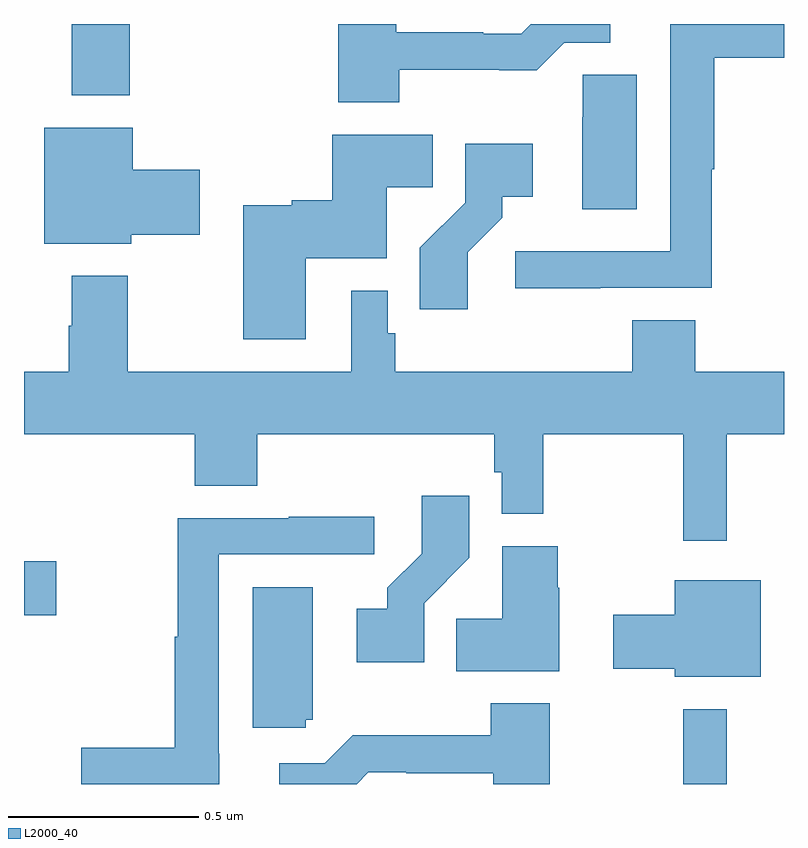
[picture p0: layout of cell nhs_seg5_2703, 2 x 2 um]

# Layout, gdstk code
import gdstk
lib = gdstk.Library(unit=1e-6, precision=1e-09)
def R(c, l, rs):  # rectangles x0, y0, x1, y1
    for r in rs: c.add(gdstk.rectangle(r[:2], r[2:], *l))
def P(c, l, *ps):  # polygons
    for p in ps: c.add(gdstk.Polygon(p, *l))
L2000_40 = (2000, 40)

nhs_seg5_2703 = lib.new_cell('nhs_seg5_2703')
R(nhs_seg5_2703, L2000_40, [(148.735,895.799,148.849,895.996), (147,896.243,147.085,896.385), (147.125,897.611,147.278,897.799)])
P(nhs_seg5_2703, L2000_40, [(148.517,897.105),(148.81,897.105),(148.81,897.417),(148.817,897.417),(148.817,897.71),(149,897.71),(149,897.799),(148.7,897.799),(148.7,897.726),(148.701,897.726),(148.701,897.201),(148.293,897.201),(148.293,897.103),(148.517,897.103)],
  [(147.987,897.678),(148.25,897.678),(148.25,897.677),(148.349,897.677),(148.422,897.75),(148.543,897.75),(148.543,897.799),(148.333,897.799),(148.308,897.774),(148.208,897.774),(148.208,897.777),(147.979,897.777),(147.979,897.799),(147.827,897.799),(147.827,897.593),(147.987,897.593)],
  [(148.612,897.665),(148.47,897.665),(148.47,897.554),(148.469,897.554),(148.469,897.312),(148.612,897.312)],
  [(147.282,897.245),(147.463,897.245),(147.463,897.416),(147.286,897.416),(147.286,897.526),(147.053,897.526),(147.053,897.221),(147.282,897.221)],
  [(147.742,897.182),(147.955,897.182),(147.955,897.37),(148.076,897.37),(148.076,897.508),(147.811,897.508),(147.811,897.335),(147.705,897.335),(147.705,897.322),(147.577,897.322),(147.577,896.97),(147.742,896.97)],
  [(148.168,897.199),(148.258,897.289),(148.258,897.344),(148.339,897.344),(148.339,897.484),(148.161,897.484),(148.161,897.329),(148.042,897.21),(148.042,897.048),(148.168,897.048)],
  [(148.849,896.72),(149,896.72),(149,896.884),(148.766,896.884),(148.766,897.02),(148.601,897.02),(148.601,896.884),(147.977,896.884),(147.977,896.985),(147.957,896.985),(147.957,897.097),(147.861,897.097),(147.861,896.884),(147.273,896.884),(147.273,897.136),(147.125,897.136),(147.125,897.005),(147.118,897.005),(147.118,896.884),(147,896.884),(147,896.72),(147.449,896.72),(147.449,896.584),(147.614,896.584),(147.614,896.72),(148.237,896.72),(148.237,896.619),(148.257,896.619),(148.257,896.51),(148.366,896.51),(148.366,896.72),(148.735,896.72),(148.735,896.439),(148.849,896.439)],
  [(148.053,896.275),(148.172,896.394),(148.172,896.557),(148.047,896.557),(148.047,896.405),(147.956,896.315),(147.956,896.26),(147.876,896.26),(147.876,896.12),(148.053,896.12)],
  [(147.514,895.878),(147.513,895.878),(147.513,896.403),(147.922,896.403),(147.922,896.502),(147.697,896.502),(147.697,896.499),(147.405,896.499),(147.405,896.187),(147.397,896.187),(147.397,895.895),(147.15,895.895),(147.15,895.799),(147.514,895.799)],
  [(148.408,896.316),(148.404,896.316),(148.404,896.425),(148.259,896.425),(148.259,896.234),(148.138,896.234),(148.138,896.096),(148.408,896.096)],
  [(148.939,896.335),(148.712,896.335),(148.712,896.244),(148.551,896.244),(148.551,896.102),(148.712,896.102),(148.712,896.081),(148.939,896.081)],
  [(147.741,895.968),(147.76,895.968),(147.76,896.317),(147.602,896.317),(147.602,895.947),(147.741,895.947)],
  [(147.906,895.83),(148.006,895.83),(148.006,895.827),(148.235,895.827),(148.235,895.799),(148.383,895.799),(148.383,896.011),(148.228,896.011),(148.228,895.927),(147.865,895.927),(147.792,895.854),(147.672,895.854),(147.672,895.799),(147.875,895.799)])

lib.write_gds('nhs_seg5_2703.gds')
